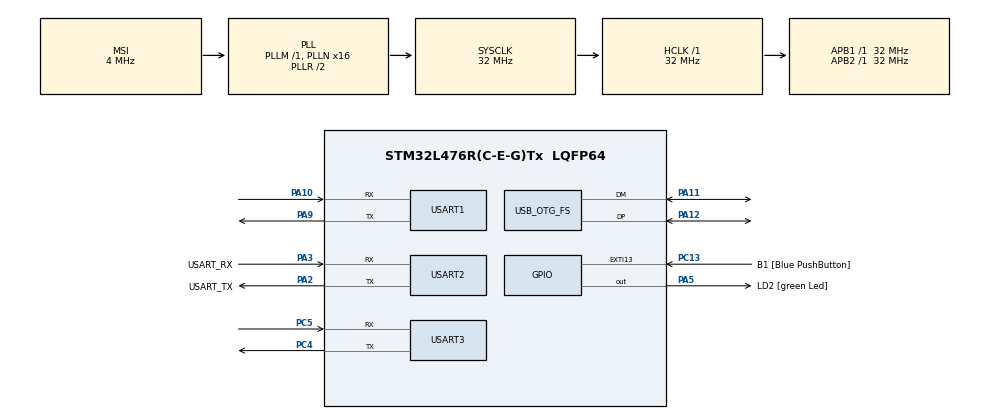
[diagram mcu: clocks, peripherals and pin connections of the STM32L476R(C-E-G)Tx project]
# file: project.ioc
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Mcu.Family=STM32L4
Mcu.Name=STM32L476R(C-E-G)Tx
Mcu.Package=LQFP64
NVIC.OTG_FS_IRQn=true\:0\:0\:false\:false\:true\:false\:true
NVIC.PriorityGroup=NVIC_PRIORITYGROUP_4
PA10.Mode=Asynchronous
PA10.Signal=USART1_RX
PA11.Mode=Device_Only
PA11.Signal=USB_OTG_FS_DM
PA12.Mode=Device_Only
PA12.Signal=USB_OTG_FS_DP
PA13\ (JTMS-SWDIO).GPIO_Label=TMS
PA13\ (JTMS-SWDIO).Mode=Serial_Wire
PA13\ (JTMS-SWDIO).Signal=SYS_JTMS-SWDIO
PA14\ (JTCK-SWCLK).GPIO_Label=TCK
PA14\ (JTCK-SWCLK).Mode=Serial_Wire
PA14\ (JTCK-SWCLK).Signal=SYS_JTCK-SWCLK
PA2.GPIO_Label=USART_TX
PA2.GPIO_Mode=GPIO_MODE_AF_PP
PA2.GPIO_PuPd=GPIO_NOPULL
PA2.GPIO_Speed=GPIO_SPEED_FREQ_VERY_HIGH
PA2.Mode=Asynchronous
PA2.Signal=USART2_TX
PA3.GPIO_Label=USART_RX
PA3.GPIO_Mode=GPIO_MODE_AF_PP
PA3.GPIO_PuPd=GPIO_NOPULL
PA3.GPIO_Speed=GPIO_SPEED_FREQ_VERY_HIGH
PA3.Mode=Asynchronous
PA3.Signal=USART2_RX
PA5.GPIO_Label=LD2 [green Led]
PA5.GPIO_ModeDefaultOutputPP=GPIO_MODE_OUTPUT_PP
PA5.GPIO_PuPd=GPIO_NOPULL
PA5.GPIO_Speed=GPIO_SPEED_FREQ_LOW
PA5.Signal=GPIO_Output
PA9.Mode=Asynchronous
PA9.Signal=USART1_TX
PB3\ (JTDO-TRACESWO).GPIO_Label=SWO
PB3\ (JTDO-TRACESWO).Signal=SYS_JTDO-SWO
PC13.GPIO_Label=B1 [Blue PushButton]
PC13.GPIO_ModeDefaultEXTI=GPIO_MODE_IT_FALLING
PC13.GPIO_PuPd=GPIO_NOPULL
PC13.Signal=GPXTI13
PC14-OSC32_IN\ (PC14).Mode=LSE-External-Oscillator
PC14-OSC32_IN\ (PC14).Signal=RCC_OSC32_IN
PC15-OSC32_OUT\ (PC15).Mode=LSE-External-Oscillator
PC15-OSC32_OUT\ (PC15).Signal=RCC_OSC32_OUT
PC4.Mode=Asynchronous
PC4.Signal=USART3_TX
PC5.Mode=Asynchronous
PC5.Signal=USART3_RX
PH0-OSC_IN\ (PH0).Mode=HSE-External-Oscillator
PH0-OSC_IN\ (PH0).Signal=RCC_OSC_IN
PH1-OSC_OUT\ (PH1).Mode=HSE-External-Oscillator
PH1-OSC_OUT\ (PH1).Signal=RCC_OSC_OUT
ProjectManager.HeapSize=0x200
ProjectManager.StackSize=0x400
ProjectManager.TargetToolchain=STM32CubeIDE
RCC.ADCFreq_Value=48000000
RCC.AHBFreq_Value=32000000
RCC.APB1Freq_Value=32000000
RCC.APB1TimFreq_Value=32000000
RCC.APB2Freq_Value=32000000
RCC.APB2TimFreq_Value=32000000
RCC.CortexFreq_Value=32000000
RCC.HCLKFreq_Value=32000000
RCC.HSE_VALUE=8000000
RCC.HSI_VALUE=16000000
RCC.MSI_VALUE=4000000
RCC.PLLN=16
RCC.PLLSAI1N=24
RCC.PREFETCH_ENABLE=1
RCC.SYSCLKFreq_VALUE=32000000
RCC.SYSCLKSource=RCC_SYSCLKSOURCE_PLLCLK
RCC.USBFreq_Value=48000000
RCC.VCOOutputFreq_Value=64000000
USART1.VirtualMode-Asynchronous=VM_ASYNC
USART2.VirtualMode-Asynchronous=VM_ASYNC
USART3.VirtualMode-Asynchronous=VM_ASYNC
USB_DEVICE.CLASS_NAME_FS=CDC
USB_DEVICE.VirtualMode=Cdc
USB_DEVICE.VirtualModeFS=Cdc_FS
USB_OTG_FS.VirtualMode=Device_Only
VP_USB_DEVICE_VS_USB_DEVICE_CDC_FS.Mode=CDC_FS
board=NUCLEO-L476RG

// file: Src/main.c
/* USER CODE BEGIN Header */
/**
  ******************************************************************************
  * @file           : main.c
  * @brief          : Main program body
  ******************************************************************************
  * @attention
  *
  * <h2><center>&copy; Copyright (c) 2019 STMicroelectronics.
  * All rights reserved.</center></h2>
  *
  * This software component is licensed by ST under BSD 3-Clause license,
  * the "License"; You may not use this file except in compliance with the
  * License. You may obtain a copy of the License at:
  *                        opensource.org/licenses/BSD-3-Clause
  *
  ******************************************************************************
  */
/* USER CODE END Header */

#include "main.h"
#include "usb_device.h"
#include "usbd_cdc.h"
#include "stm32l4xx_hal_uart.h"

UART_HandleTypeDef huart1;
UART_HandleTypeDef huart2;
UART_HandleTypeDef huart3;
extern USBD_HandleTypeDef hUsbDeviceFS;

void SystemClock_Config(void);
static void MX_GPIO_Init(void);
static void MX_USART2_UART_Init(void);
static void MX_USART1_UART_Init(void);
static void MX_USART3_UART_Init(void);
void EndpointActivate(USBD_HandleTypeDef* pusb);
uint8_t  USBD_CDC_TransmitPacket_EP(USBD_HandleTypeDef *pdev,uint8_t epaddr);
uint8_t  USBD_CDC_ReceivePacket_EP(USBD_HandleTypeDef *pdev,uint8_t epaddr);
void USBD_CDC_Receive(USBD_HandleTypeDef* pusb, uint8_t* ptr, uint8_t epaddr);
void USBD_CDC_Transmit(USBD_HandleTypeDef* pusb, uint8_t* ptr,uint8_t length, uint8_t epaddr);
uint8_t CDC1[64];
 uint8_t CDC2[64];

 uint8_t usart1[64]="USART2";
 uint8_t usart3[64];

int main(void)
{

  /* MCU Configuration--------------------------------------------------------*/

  /* Reset of all peripherals, Initializes the Flash interface and the Systick. */
  HAL_Init();

  /* Configure the system clock */
  SystemClock_Config();

  /* Initialize all configured peripherals */
  MX_GPIO_Init();
  MX_USART2_UART_Init();
  MX_USART1_UART_Init();
  MX_USART3_UART_Init();
  MX_USB_DEVICE_Init();

  EndpointActivate(&hUsbDeviceFS);
  /* USER CODE BEGIN 2 */

//TODO: UART IT HANDLING
//TODO: USB DEVICE IT HANDLING
//TODO: USB DEVICE COM PORT 12

  /* USER CODE END 2 */

  /* Infinite loop */
  while (1)
  {
    /* USER CODE BEGIN 3 */

	  //CDC1-USART1
	  //CDC2-USART3
	  HAL_UART_Transmit(&huart2, usart2, sizeof(usart2), 1000);
	  HAL_UART_IRQHandler(&huart3);
	  HAL_UART_IRQHandler(&huart1);
	  /*Reception from PC*/
	 USBD_CDC_Receive(&hUsbDeviceFS, CDC1, CDC1_BLK_RX);
	  //USBD_CDC_Receive(&hUsbDeviceFS,CDC2,CDC2_BLK_RX);
	  //Do not receive from or transmit to CDC2 until COM PORT 12 can be configured by putty

	  /*Transmit Received PC Data*/
	  HAL_UART_Transmit_IT(&huart1, CDC1,sizeof(CDC1));

	  //HAL_UART_Transmit_IT(&huart3, CDC2, sizeof(CDC2));
	  __HAL_UART_DISABLE_IT(&huart1,UART_IT_RXNE);
	  /*Reception from UART*/
	 HAL_UART_Receive_IT(&huart1, usart1, sizeof(usart1));

	 //HAL_UART_Receive_IT(&huart3, usart3, sizeof(usart3));

	  /*Transmit Received Serial Data to PC*/

	  USBD_CDC_Transmit(&hUsbDeviceFS, usart1,sizeof(usart1), CDC1_BLK_TX);
	  //USBD_CDC_Transmit(&hUsbDeviceFS, usart3,sizeof(usart3),CDC2_BLK_TX);

CDC_Transmit_FS(Buf, Len)
  }
  /* USER CODE END 3 */
}

void SystemClock_Config(void)
{
  RCC_OscInitTypeDef RCC_OscInitStruct = {0};
  RCC_ClkInitTypeDef RCC_ClkInitStruct = {0};
  RCC_PeriphCLKInitTypeDef PeriphClkInit = {0};

  /** Configure LSE Drive Capability
  */
  HAL_PWR_EnableBkUpAccess();
  __HAL_RCC_LSEDRIVE_CONFIG(RCC_LSEDRIVE_LOW);
  /** Initializes the CPU, AHB and APB busses clocks
  */
  RCC_OscInitStruct.OscillatorType = RCC_OSCILLATORTYPE_LSE|RCC_OSCILLATORTYPE_MSI;
  RCC_OscInitStruct.LSEState = RCC_LSE_ON;
  RCC_OscInitStruct.MSIState = RCC_MSI_ON;
  RCC_OscInitStruct.MSICalibrationValue = 0;
  RCC_OscInitStruct.MSIClockRange = RCC_MSIRANGE_6;
  RCC_OscInitStruct.PLL.PLLState = RCC_PLL_ON;
  RCC_OscInitStruct.PLL.PLLSource = RCC_PLLSOURCE_MSI;
  RCC_OscInitStruct.PLL.PLLM = 1;
  RCC_OscInitStruct.PLL.PLLN = 16;
  RCC_OscInitStruct.PLL.PLLP = RCC_PLLP_DIV7;
  RCC_OscInitStruct.PLL.PLLQ = RCC_PLLQ_DIV2;
  RCC_OscInitStruct.PLL.PLLR = RCC_PLLR_DIV2;
  if (HAL_RCC_OscConfig(&RCC_OscInitStruct) != HAL_OK)
  {
    Error_Handler();
  }
  /** Initializes the CPU, AHB and APB busses clocks
  */
  RCC_ClkInitStruct.ClockType = RCC_CLOCKTYPE_HCLK|RCC_CLOCKTYPE_SYSCLK
                              |RCC_CLOCKTYPE_PCLK1|RCC_CLOCKTYPE_PCLK2;
  RCC_ClkInitStruct.SYSCLKSource = RCC_SYSCLKSOURCE_PLLCLK;
  RCC_ClkInitStruct.AHBCLKDivider = RCC_SYSCLK_DIV1;
  RCC_ClkInitStruct.APB1CLKDivider = RCC_HCLK_DIV1;
  RCC_ClkInitStruct.APB2CLKDivider = RCC_HCLK_DIV1;

  if (HAL_RCC_ClockConfig(&RCC_ClkInitStruct, FLASH_LATENCY_1) != HAL_OK)
  {
    Error_Handler();
  }
  PeriphClkInit.PeriphClockSelection = RCC_PERIPHCLK_USART1|RCC_PERIPHCLK_USART2
                              |RCC_PERIPHCLK_USART3|RCC_PERIPHCLK_USB;
  PeriphClkInit.Usart1ClockSelection = RCC_USART1CLKSOURCE_PCLK2;
  PeriphClkInit.Usart2ClockSelection = RCC_USART2CLKSOURCE_PCLK1;
  PeriphClkInit.Usart3ClockSelection = RCC_USART3CLKSOURCE_PCLK1;
  PeriphClkInit.UsbClockSelection = RCC_USBCLKSOURCE_PLLSAI1;
  PeriphClkInit.PLLSAI1.PLLSAI1Source = RCC_PLLSOURCE_MSI;
  PeriphClkInit.PLLSAI1.PLLSAI1M = 1;
  PeriphClkInit.PLLSAI1.PLLSAI1N = 24;
  PeriphClkInit.PLLSAI1.PLLSAI1P = RCC_PLLP_DIV7;
  PeriphClkInit.PLLSAI1.PLLSAI1Q = RCC_PLLQ_DIV2;
  PeriphClkInit.PLLSAI1.PLLSAI1R = RCC_PLLR_DIV2;
  PeriphClkInit.PLLSAI1.PLLSAI1ClockOut = RCC_PLLSAI1_48M2CLK;
  if (HAL_RCCEx_PeriphCLKConfig(&PeriphClkInit) != HAL_OK)
  {
    Error_Handler();
  }
  /** Configure the main internal regulator output voltage
  */
  if (HAL_PWREx_ControlVoltageScaling(PWR_REGULATOR_VOLTAGE_SCALE1) != HAL_OK)
  {
    Error_Handler();
  }
  /** Enable MSI Auto calibration
  */
  HAL_RCCEx_EnableMSIPLLMode();
}

static void MX_USART1_UART_Init(void)
{

  huart1.Instance = USART1;
  huart1.Init.BaudRate = 115200;
  huart1.Init.WordLength = UART_WORDLENGTH_8B;
  huart1.Init.StopBits = UART_STOPBITS_1;
  huart1.Init.Parity = UART_PARITY_NONE;
  huart1.Init.Mode = UART_MODE_TX_RX;
  huart1.Init.HwFlowCtl = UART_HWCONTROL_NONE;
  huart1.Init.OverSampling = UART_OVERSAMPLING_16;
  huart1.Init.OneBitSampling = UART_ONE_BIT_SAMPLE_DISABLE;
  huart1.AdvancedInit.AdvFeatureInit = UART_ADVFEATURE_NO_INIT;
  if (HAL_UART_Init(&huart1) != HAL_OK)
  {
    Error_Handler();
  }

}

static void MX_USART2_UART_Init(void)
{

  huart2.Instance = USART2;
  huart2.Init.BaudRate = 115200;
  huart2.Init.WordLength = UART_WORDLENGTH_8B;
  huart2.Init.StopBits = UART_STOPBITS_1;
  huart2.Init.Parity = UART_PARITY_NONE;
  huart2.Init.Mode = UART_MODE_TX_RX;
  huart2.Init.HwFlowCtl = UART_HWCONTROL_NONE;
  huart2.Init.OverSampling = UART_OVERSAMPLING_16;
  huart2.Init.OneBitSampling = UART_ONE_BIT_SAMPLE_DISABLE;
  huart2.AdvancedInit.AdvFeatureInit = UART_ADVFEATURE_NO_INIT;
  if (HAL_UART_Init(&huart2) != HAL_OK)
  {
    Error_Handler();
  }

}

static void MX_USART3_UART_Init(void)
{

  huart3.Instance = USART3;
  huart3.Init.BaudRate = 115200;
  huart3.Init.WordLength = UART_WORDLENGTH_8B;
  huart3.Init.StopBits = UART_STOPBITS_1;
  huart3.Init.Parity = UART_PARITY_NONE;
  huart3.Init.Mode = UART_MODE_TX_RX;
  huart3.Init.HwFlowCtl = UART_HWCONTROL_NONE;
  huart3.Init.OverSampling = UART_OVERSAMPLING_16;
  huart3.Init.OneBitSampling = UART_ONE_BIT_SAMPLE_DISABLE;
  huart3.AdvancedInit.AdvFeatureInit = UART_ADVFEATURE_NO_INIT;
  if (HAL_UART_Init(&huart3) != HAL_OK)
  {
    Error_Handler();
  }

}

static void MX_GPIO_Init(void)
{
  GPIO_InitTypeDef GPIO_InitStruct = {0};

  /* GPIO Ports Clock Enable */
  __HAL_RCC_GPIOC_CLK_ENABLE();
  __HAL_RCC_GPIOH_CLK_ENABLE();
  __HAL_RCC_GPIOA_CLK_ENABLE();
  __HAL_RCC_GPIOB_CLK_ENABLE();

  /*Configure GPIO pin Output Level */
  HAL_GPIO_WritePin(LD2_GPIO_Port, LD2_Pin, GPIO_PIN_RESET);

  /*Configure GPIO pin : B1_Pin */
  GPIO_InitStruct.Pin = B1_Pin;
  GPIO_InitStruct.Mode = GPIO_MODE_IT_FALLING;
  GPIO_InitStruct.Pull = GPIO_NOPULL;
  HAL_GPIO_Init(B1_GPIO_Port, &GPIO_InitStruct);

  /*Configure GPIO pin : LD2_Pin */
  GPIO_InitStruct.Pin = LD2_Pin;
  GPIO_InitStruct.Mode = GPIO_MODE_OUTPUT_PP;
  GPIO_InitStruct.Pull = GPIO_NOPULL;
  GPIO_InitStruct.Speed = GPIO_SPEED_FREQ_LOW;
  HAL_GPIO_Init(LD2_GPIO_Port, &GPIO_InitStruct);

}

/* USER CODE BEGIN 4 */
void EndpointActivate(USBD_HandleTypeDef* pusb){

//CDC1
USBD_LL_OpenEP(pusb, CDC1_INTR_TX, EP_TYPE_INTR, USB_MAX_EP0_SIZE);
USBD_LL_OpenEP(pusb, CDC1_BLK_TX, EP_TYPE_BULK, USB_MAX_EP0_SIZE);
USBD_LL_OpenEP(pusb, CDC1_BLK_RX, EP_TYPE_BULK, USB_MAX_EP0_SIZE);

//CDC2
USBD_LL_OpenEP(pusb, CDC2_INTR_TX, EP_TYPE_INTR, USB_MAX_EP0_SIZE);
USBD_LL_OpenEP(pusb, CDC2_BLK_TX, EP_TYPE_BULK, USB_MAX_EP0_SIZE);
USBD_LL_OpenEP(pusb, CDC2_BLK_RX, EP_TYPE_BULK, USB_MAX_EP0_SIZE);

USBD_LL_Init(pusb);
	USBD_LL_Start(pusb);
}

uint8_t  USBD_CDC_TransmitPacket_EP(USBD_HandleTypeDef *pdev,uint8_t epaddr)
{
  USBD_CDC_HandleTypeDef   *hcdc = (USBD_CDC_HandleTypeDef*) pdev->pClassData;

  if(pdev->pClassData != NULL)
  {
    if(hcdc->TxState == 0U)
    {
      /* Tx Transfer in progress */
      hcdc->TxState = 1U;

      /* Update the packet total length */
      pdev->ep_in[epaddr & 0xFU].total_length = hcdc->TxLength;

      /* Transmit next packet */
      USBD_LL_Transmit(pdev, epaddr, hcdc->TxBuffer,
                       (uint16_t)hcdc->TxLength);

      return USBD_OK;
    }
    else
    {
      return USBD_BUSY;
    }
  }
  else
  {
    return USBD_FAIL;
  }
}

uint8_t  USBD_CDC_ReceivePacket_EP(USBD_HandleTypeDef *pdev,uint8_t epaddr)
{
  USBD_CDC_HandleTypeDef   *hcdc = (USBD_CDC_HandleTypeDef*) pdev->pClassData;

  /* Suspend or Resume USB Out process */
  if(pdev->pClassData != NULL)
  {
    if(pdev->dev_speed == USBD_SPEED_HIGH  )
    {
      /* Prepare Out endpoint to receive next packet */
      USBD_LL_PrepareReceive(pdev,
                             epaddr,
                             hcdc->RxBuffer,
                             CDC_DATA_HS_OUT_PACKET_SIZE);
    }
    else
    {
      /* Prepare Out endpoint to receive next packet */
      USBD_LL_PrepareReceive(pdev,
                             epaddr,
                             hcdc->RxBuffer,
                             CDC_DATA_FS_OUT_PACKET_SIZE);
    }
    return USBD_OK;
  }
  else
  {
    return USBD_FAIL;
  }
}
void memoryrelease(uint8_t* ptr, uint8_t size){
uint8_t i=0;

for(i=0;i<size;i++)
	ptr[i]=0;

}

void USBD_CDC_Receive(USBD_HandleTypeDef* pusb, uint8_t* ptr, uint8_t epaddr){
	  USBD_CDC_SetRxBuffer(pusb, ptr);
	  USBD_CDC_ReceivePacket_EP(pusb, epaddr);

}

void USBD_CDC_Transmit(USBD_HandleTypeDef* pusb, uint8_t* ptr,uint8_t length, uint8_t epaddr){
	  USBD_CDC_SetTxBuffer(pusb, ptr,length);
	  USBD_CDC_TransmitPacket_EP(pusb, epaddr);

}
/* USER CODE END 4 */

void Error_Handler(void)
{
}

/************************ (C) COPYRIGHT STMicroelectronics *****END OF FILE****/
